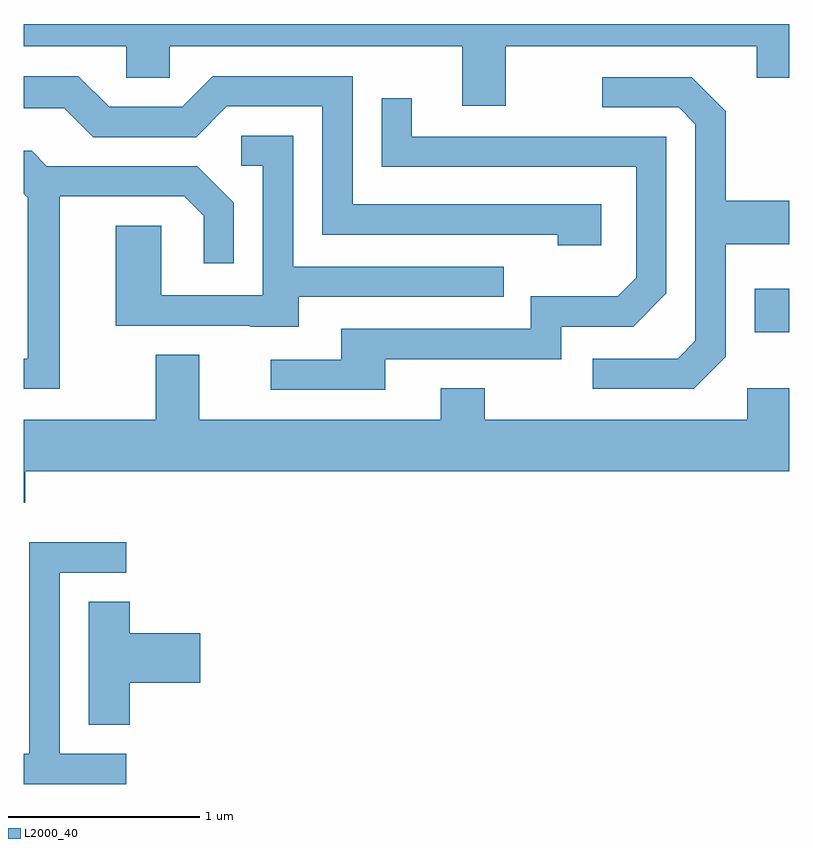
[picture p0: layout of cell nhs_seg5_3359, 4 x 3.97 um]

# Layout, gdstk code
import gdstk
lib = gdstk.Library(unit=1e-6, precision=1e-09)
def R(c, l, rs):  # rectangles x0, y0, x1, y1
    for r in rs: c.add(gdstk.rectangle(r[:2], r[2:], *l))
def P(c, l, *ps):  # polygons
    for p in ps: c.add(gdstk.Polygon(p, *l))
L2000_40 = (2000, 40)

nhs_seg5_3359 = lib.new_cell('nhs_seg5_3359')
R(nhs_seg5_3359, L2000_40, [(289.431,1406.461,289.611,1406.689)])
P(nhs_seg5_3359, L2000_40, [(288.129,1407.956),(289.441,1407.956),(289.441,1407.791),(289.611,1407.791),(289.611,1408.072),(285.611,1408.072),(285.611,1407.956),(286.146,1407.956),(286.146,1407.791),(286.374,1407.791),(286.374,1407.956),(287.901,1407.956),(287.901,1407.646),(288.129,1407.646)],
  [(288.629,1407.129),(287.329,1407.129),(287.329,1407.799),(286.599,1407.799),(286.439,1407.639),(286.057,1407.639),(285.897,1407.799),(285.611,1407.799),(285.611,1407.631),(285.824,1407.631),(285.974,1407.481),(286.512,1407.481),(286.672,1407.641),(287.171,1407.641),(287.171,1406.971),(288.401,1406.971),(288.401,1406.916),(288.629,1406.916)],
  [(289.279,1406.334),(289.279,1406.921),(289.611,1406.921),(289.611,1407.149),(289.279,1407.149),(289.279,1407.617),(289.102,1407.794),(288.633,1407.794),(288.633,1407.636),(289.034,1407.636),(289.121,1407.549),(289.121,1406.417),(289.029,1406.324),(288.583,1406.324),(288.583,1406.166),(289.112,1406.166)],
  [(287.499,1406.321),(288.419,1406.321),(288.419,1406.491),(288.797,1406.491),(288.969,1406.664),(288.969,1407.484),(287.639,1407.484),(287.639,1407.683),(287.481,1407.683),(287.481,1407.326),(288.811,1407.326),(288.811,1406.747),(288.714,1406.649),(288.261,1406.649),(288.261,1406.479),(287.271,1406.479),(287.271,1406.319),(286.903,1406.319),(286.903,1406.161),(287.499,1406.161)],
  [(287.049,1406.646),(288.118,1406.646),(288.118,1406.804),(287.019,1406.804),(287.019,1407.489),(286.748,1407.489),(286.748,1407.331),(286.861,1407.331),(286.861,1406.654),(286.329,1406.654),(286.329,1407.019),(286.091,1407.019),(286.091,1406.496),(286.795,1406.496),(286.795,1406.491),(287.049,1406.491)],
  [(285.799,1407.171),(286.449,1407.171),(286.551,1407.069),(286.551,1406.823),(286.709,1406.823),(286.709,1407.137),(286.517,1407.329),(285.732,1407.329),(285.652,1407.409),(285.611,1407.409),(285.611,1407.184),(285.631,1407.164),(285.631,1406.324),(285.611,1406.324),(285.611,1406.166),(285.799,1406.166)],
  [(285.619,1405.736),(289.611,1405.736),(289.611,1406.169),(289.391,1406.169),(289.391,1406.004),(288.019,1406.004),(288.019,1406.169),(287.791,1406.169),(287.791,1406.004),(286.529,1406.004),(286.529,1406.344),(286.301,1406.344),(286.301,1406.004),(285.611,1406.004),(285.611,1405.571),(285.619,1405.571)],
  [(286.148,1404.259),(285.799,1404.259),(285.799,1405.206),(286.148,1405.206),(286.148,1405.364),(285.641,1405.364),(285.641,1404.259),(285.611,1404.259),(285.611,1404.101),(286.148,1404.101)],
  [(286.164,1404.631),(286.534,1404.631),(286.534,1404.889),(286.164,1404.889),(286.164,1405.054),(285.951,1405.054),(285.951,1404.411),(286.164,1404.411)])

lib.write_gds('nhs_seg5_3359.gds')
